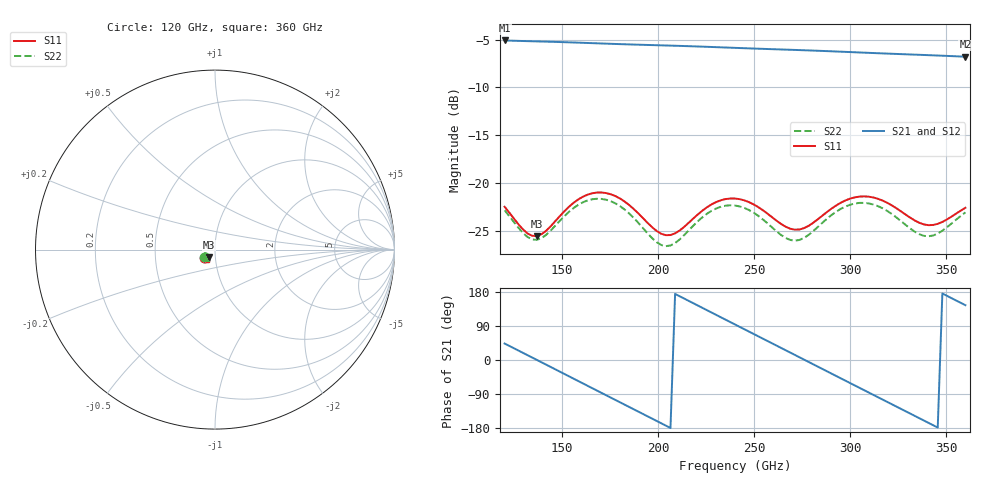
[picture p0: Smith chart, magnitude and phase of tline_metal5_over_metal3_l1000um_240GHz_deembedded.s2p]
! Created with skrf 2.0.1 (http://scikit-rf.org).
# GHz S DB R 50.0
!freq dBS11 angS11 dBS21 angS21 dBS12 angS12 dBS22 angS22
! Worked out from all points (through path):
!   101 points, 120 GHz to 360 GHz, reference 50 ohm
!   highest |S21| = -5.10 dB at 120 GHz (marker M1); lowest = -6.8 dB at 360 GHz (marker M2)
!   group delay of S21, straight-line fit = 7.16 ps
!   lowest |S11| = -25.5 dB at 136.8 GHz (marker M3), VSWR 1.11, Z = 46.6 - j3.88 ohm
!   |S11| at or under -10 dB: start of sweep to end of sweep
!   |S22| runs from -26.5 to -21.6 dB; largest |S21 - S12| = 6.3e-14
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120  -22.44 -144.1  -5.10 43.4  -5.10 43.4  -22.81 -147.3
136.8  -25.49 -128.7  -5.19 0.2  -5.19 0.2  -25.88 -133.0
148.8  -23.40 -117.0  -5.26 -30.8  -5.26 -30.8  -23.90 -122.1
160.8  -21.39 -124.5  -5.34 -61.8  -5.34 -61.8  -21.97 -130.1
170.4  -20.95 -135.5  -5.41 -86.6  -5.41 -86.6  -21.62 -141.5
180  -21.57 -145.9  -5.48 -111.4  -5.48 -111.4  -22.36 -152.3
192  -23.61 -151.6  -5.55 -142.3  -5.55 -142.3  -24.65 -157.8
201.6  -25.26 -143.8  -5.61 -167.0  -5.61 -167.0  -26.43 -148.3
218.4  -23.64 -126.5  -5.71 149.5  -5.71 149.5  -24.39 -130.1
230.4  -21.93 -131.9  -5.80 118.5  -5.80 118.5  -22.60 -137.0
240  -21.58 -140.5  -5.87 93.7  -5.87 93.7  -22.31 -146.6
249.6  -22.18 -148.2  -5.94 69.0  -5.94 69.0  -23.04 -154.9
261.6  -23.88 -150.0  -6.02 38.1  -6.02 38.1  -24.99 -156.3
271.2  -24.83 -141.4  -6.08 13.3  -6.08 13.3  -25.97 -145.8
280.8  -24.10 -131.6  -6.15 -11.5  -6.15 -11.5  -24.97 -135.2
290.4  -22.61 -130.3  -6.23 -36.2  -6.23 -36.2  -23.28 -134.8
302.4  -21.46 -137.6  -6.33 -67.2  -6.33 -67.2  -22.10 -143.7
312  -21.47 -145.5  -6.41 -91.9  -6.41 -91.9  -22.20 -152.5
321.6  -22.28 -151.3  -6.48 -116.5  -6.48 -116.5  -23.18 -158.7
340.8  -24.36 -143.7  -6.63 -165.9  -6.63 -165.9  -25.52 -147.9
350.4  -23.76 -135.4  -6.71 169.3  -6.71 169.3  -24.58 -138.1
360  -22.54 -134.3  -6.79 144.6  -6.79 144.6  -23.03 -137.3
